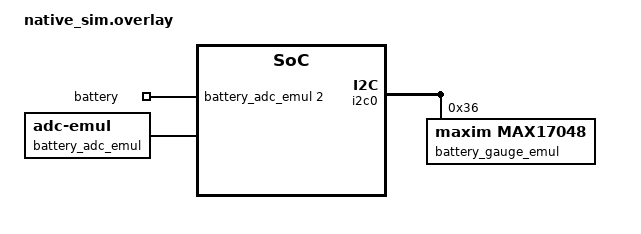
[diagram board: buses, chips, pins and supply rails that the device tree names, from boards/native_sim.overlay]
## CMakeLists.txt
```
# SPDX-License-Identifier: Apache-2.0
cmake_minimum_required(VERSION 3.28.0)
set(BOARD_ROOT ${CMAKE_CURRENT_LIST_DIR}/../../..)
set(DTC_OVERLAY_FILE ${CMAKE_CURRENT_LIST_DIR}/boards/native_sim.overlay)
find_package(Zephyr REQUIRED HINTS $ENV{ZEPHYR_BASE})
project(ef800_shared_battery_soc_test)

target_compile_definitions(app PRIVATE
	CONFIG_EF800_APPLICATION_RUNTIME_RTC_PERIOD_MS=1000
	CONFIG_EF800_APPLICATION_RUNTIME_BATTERY_PERIOD_MS=10000
)

target_sources(app PRIVATE
	src/main.c
	${CMAKE_CURRENT_LIST_DIR}/../../../shared/ef800_battery/ef800_battery_soc.c
	${CMAKE_CURRENT_LIST_DIR}/../../../shared/ef800_battery/ef800_battery_adc_ring.c
	${CMAKE_CURRENT_LIST_DIR}/../../../shared/ef800_battery/ef800_battery_soc_gauge.c
	${CMAKE_CURRENT_LIST_DIR}/../../../shared/ef800_battery/ef800_battery_soc_store.c
	${CMAKE_CURRENT_LIST_DIR}/../../../shared/ef800_runtime/ef800_runtime_state.c
	${CMAKE_CURRENT_LIST_DIR}/../../../shared/ef800_drivers/ef800_max17043.c
	${CMAKE_CURRENT_LIST_DIR}/../../../shared/virtual_ef800/profile/virtual_ef800_profile.c
	${CMAKE_CURRENT_LIST_DIR}/../../../shared/virtual_ef800/battery/virtual_ef800_battery.c
	${CMAKE_CURRENT_LIST_DIR}/../../../shared/ef800_persistence/ef800_persistence.c
	${CMAKE_CURRENT_LIST_DIR}/../../../shared/ef800_persistence/ef800_persistence_fake.c
)
target_include_directories(app PRIVATE
	${CMAKE_CURRENT_LIST_DIR}/../../../shared/ef800_battery
	${CMAKE_CURRENT_LIST_DIR}/../../../shared/ef800_drivers
	${CMAKE_CURRENT_LIST_DIR}/../../../shared/virtual_ef800/profile
	${CMAKE_CURRENT_LIST_DIR}/../../../shared/virtual_ef800/serial
	${CMAKE_CURRENT_LIST_DIR}/../../../shared/ef800_runtime
	${CMAKE_CURRENT_LIST_DIR}/../../../shared/ef800_app
	${CMAKE_CURRENT_LIST_DIR}/../../../shared/ef800_persistence
)
```

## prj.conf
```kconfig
# SPDX-License-Identifier: Apache-2.0
CONFIG_ZTEST=y
CONFIG_ADC=y
CONFIG_ADC_EMUL=y
CONFIG_I2C=y
CONFIG_I2C_EMUL=y
CONFIG_EMUL=y
CONFIG_FUEL_GAUGE=y
CONFIG_MAX17048=y
CONFIG_EMUL_MAX17048=y
```

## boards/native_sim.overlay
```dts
/* SPDX-License-Identifier: Apache-2.0 */
#include <zephyr/dt-bindings/adc/adc.h>

/ {
	zephyr,user {
		io-channels = <&battery_adc_emul 2>;
		io-channel-names = "battery";
	};

	battery_adc_emul: adc {
		compatible = "zephyr,adc-emul";
		nchannels = <3>;
		ref-internal-mv = <3300>;
		#io-channel-cells = <1>;
		status = "okay";

		#address-cells = <1>;
		#size-cells = <0>;

		channel@2 {
			reg = <2>;
			zephyr,gain = "ADC_GAIN_1";
			zephyr,reference = "ADC_REF_INTERNAL";
			zephyr,vref-mv = <3300>;
			zephyr,acquisition-time = <ADC_ACQ_TIME_MAX>;
			zephyr,resolution = <12>;
		};
	};
};

&i2c0 {
	battery_gauge_emul: fuel-gauge@36 {
		compatible = "maxim,max17048";
		reg = <0x36>;
		status = "okay";
	};
};
```

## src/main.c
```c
/* SPDX-License-Identifier: Apache-2.0 */

#include <errno.h>
#include <string.h>

#include <zephyr/device.h>
#include <zephyr/devicetree.h>
#include <zephyr/drivers/adc.h>
#include <zephyr/drivers/adc/adc_emul.h>
#include <zephyr/ztest.h>

#include "ef800_battery_soc.h"
#include "ef800_battery_adc_ring.h"
#include "ef800_battery_soc_gauge.h"
#include "ef800_battery_soc_store.h"
#include "ef800_max17043.h"
#include "ef800_persistence_fake.h"
#include "ef800_runtime_state.h"
#include "virtual_ef800_profile.h"

int ef800_app_rtc_get_local_time(struct rtc_time *local)
{
	ARG_UNUSED(local);
	return -ENOTSUP;
}

int virtual_ef800_serial_peer_set_profile(uint8_t port, uint8_t profile)
{
	ARG_UNUSED(port);
	ARG_UNUSED(profile);
	return 0;
}

int virtual_ef800_serial_peer_set(uint8_t port, const uint8_t *response,
	size_t length, int32_t delay_ms, int32_t error, bool available)
{
	ARG_UNUSED(port);
	ARG_UNUSED(response);
	ARG_UNUSED(length);
	ARG_UNUSED(delay_ms);
	ARG_UNUSED(error);
	ARG_UNUSED(available);
	return 0;
}

static struct ef800_battery_soc_table sample_table(void)
{
	return (struct ef800_battery_soc_table){
		.version = EF800_BATTERY_SOC_TABLE_VERSION,
		.chemistry = EF800_BATTERY_SOC_CHEMISTRY_LIFEPO4,
		.point_count = 3U,
		.points = {
			{ .pin_mv = 1000U, .soc_percent = 0U },
			{ .pin_mv = 2000U, .soc_percent = 50U },
			{ .pin_mv = 3000U, .soc_percent = 100U },
		},
	};
}

static const struct adc_dt_spec test_battery_adc =
	ADC_DT_SPEC_GET_BY_NAME(DT_PATH(zephyr_user), battery);

ZTEST(battery_soc_adc, test_adc_ring_warmup_averages_and_wraps)
{
	struct ef800_battery_adc_ring ring = {0};
	uint16_t average;

	zassert_ok(ef800_battery_adc_ring_push(&ring, 1000U, &average), NULL);
	zassert_equal(average, 1000U, "warm-up should use available samples");
	zassert_ok(ef800_battery_adc_ring_push(&ring, 1201U, &average), NULL);
	zassert_equal(average, 1101U, "mean should round to nearest millivolt");

	for (uint16_t sample = 2000U; sample < 2000U +
		EF800_BATTERY_ADC_RING_CAPACITY - 2U; ++sample) {
		zassert_ok(ef800_battery_adc_ring_push(&ring, sample, &average), NULL);
	}
	zassert_equal(ring.count, EF800_BATTERY_ADC_RING_CAPACITY, NULL);
	zassert_ok(ef800_battery_adc_ring_push(&ring, 3000U, &average), NULL);
	zassert_equal(ring.count, EF800_BATTERY_ADC_RING_CAPACITY, NULL);
	zassert_equal(average, 2027U, "full ring should discard oldest sample");
}

ZTEST(battery_soc_table, test_hex_encode_decode_round_trip)
{
	struct ef800_battery_soc_table original = sample_table();
	struct ef800_battery_soc_table decoded;
	char hex[EF800_BATTERY_SOC_TABLE_MAX_HEX_LENGTH + 1U];
	size_t hex_length;

	zassert_ok(ef800_battery_soc_table_encode_hex(&original, hex, sizeof(hex),
		&hex_length), NULL);
	zassert_true(hex_length > 0U, NULL);
	zassert_ok(ef800_battery_soc_table_decode_hex(hex, hex_length, &decoded), NULL);
	zassert_equal(decoded.version, original.version, NULL);
	zassert_equal(decoded.chemistry, original.chemistry, NULL);
	zassert_equal(decoded.point_count, original.point_count, NULL);
	for (size_t index = 0U; index < original.point_count; ++index) {
		zassert_equal(decoded.points[index].pin_mv,
			original.points[index].pin_mv, NULL);
		zassert_equal(decoded.points[index].soc_percent,
			original.points[index].soc_percent, NULL);
	}
}

ZTEST(battery_soc_table, test_documented_approximate_lifepo4_table)
{
	static const char hex[] =
		"01020b080100099b0a0a3f140a4f1e0a68280a70320a783c0a91460aa1500aba5a0ae36473f7f18d";
	static const uint16_t expected_pin_mv[] = {
		2049U, 2459U, 2623U, 2639U, 2664U, 2672U,
		2680U, 2705U, 2721U, 2746U, 2787U,
	};
	struct ef800_battery_soc_table table;

	zassert_ok(ef800_battery_soc_table_decode_hex(hex, strlen(hex), &table), NULL);
	zassert_equal(table.chemistry, EF800_BATTERY_SOC_CHEMISTRY_LIFEPO4, NULL);
	zassert_equal(table.point_count, ARRAY_SIZE(expected_pin_mv), NULL);
	for (size_t index = 0U; index < ARRAY_SIZE(expected_pin_mv); ++index) {
		zassert_equal(table.points[index].pin_mv, expected_pin_mv[index], NULL);
		zassert_equal(table.points[index].soc_percent, index * 10U, NULL);
	}
}

ZTEST(battery_soc_table, test_interpolation_clamps_and_rounds)
{
	struct ef800_battery_soc_table table = sample_table();
	uint8_t soc;
	uint16_t pin_mv;

	zassert_ok(ef800_battery_soc_from_pin_mv(&table, 500U, &soc), NULL);
	zassert_equal(soc, 0U, NULL);
	zassert_ok(ef800_battery_soc_from_pin_mv(&table, 1500U, &soc), NULL);
	zassert_equal(soc, 25U, NULL);
	zassert_ok(ef800_battery_soc_from_pin_mv(&table, 3500U, &soc), NULL);
	zassert_equal(soc, 100U, NULL);

	zassert_ok(ef800_battery_pin_mv_from_soc(&table, 0U, &pin_mv), NULL);
	zassert_equal(pin_mv, 1000U, NULL);
	zassert_ok(ef800_battery_pin_mv_from_soc(&table, 25U, &pin_mv), NULL);
	zassert_equal(pin_mv, 1500U, NULL);
	zassert_ok(ef800_battery_pin_mv_from_soc(&table, 100U, &pin_mv), NULL);
	zassert_equal(pin_mv, 3000U, NULL);
}

ZTEST(battery_soc_table, test_decode_rejects_bad_hex_crc_and_length)
{
	struct ef800_battery_soc_table table = sample_table();
	struct ef800_battery_soc_table decoded;
	char hex[EF800_BATTERY_SOC_TABLE_MAX_HEX_LENGTH + 1U];
	size_t hex_length;

	zassert_ok(ef800_battery_soc_table_encode_hex(&table, hex, sizeof(hex),
		&hex_length), NULL);
	zassert_equal(ef800_battery_soc_table_decode_hex(hex, hex_length - 1U,
		&decoded), -EINVAL, NULL);
	hex[0] = 'Z';
	zassert_equal(ef800_battery_soc_table_decode_hex(hex, hex_length,
		&decoded), -EINVAL, NULL);
	zassert_ok(ef800_battery_soc_table_encode_hex(&table, hex, sizeof(hex),
		&hex_length), NULL);
	hex[hex_length - 1U] = hex[hex_length - 1U] == '0' ? '1' : '0';
	zassert_equal(ef800_battery_soc_table_decode_hex(hex, hex_length,
		&decoded), -EBADMSG, NULL);
}

ZTEST(battery_soc_table, test_validation_rejects_invalid_points_and_capacity)
{
	struct ef800_battery_soc_table table = sample_table();
	char hex[EF800_BATTERY_SOC_TABLE_MAX_HEX_LENGTH + 1U];
	size_t hex_length;

	table.points[1].pin_mv = table.points[0].pin_mv;
	zassert_equal(ef800_battery_soc_table_validate(&table), -EINVAL, NULL);
	table = sample_table();
	table.points[1].soc_percent = table.points[0].soc_percent;
	zassert_equal(ef800_battery_soc_table_validate(&table), -EINVAL, NULL);
	table = sample_table();
	table.points[2].pin_mv = EF800_BATTERY_SOC_ADC_MAX_MV + 1U;
	zassert_equal(ef800_battery_soc_table_validate(&table), -ERANGE, NULL);
	table = sample_table();
	zassert_equal(ef800_battery_soc_table_encode_hex(&table, hex, 1U,
		&hex_length), -ENOMEM, NULL);
}

ZTEST(battery_soc_adc, test_native_adc_path_converts_millivolts_and_soc_bounds)
{
	struct ef800_battery_soc_table table = sample_table();
	struct adc_sequence sequence;
	int16_t raw_sample;
	int32_t measured_mv;
	uint16_t requested_mv;
	uint8_t actual_soc;
	uint8_t battery_control[3] = { 4U, 6U, 0U };
	static const uint8_t requested_values[] = { 0U, 50U, 100U };

	zassert_true(device_is_ready(test_battery_adc.dev), NULL);
	zassert_ok(adc_channel_setup_dt(&test_battery_adc), NULL);
	for (size_t index = 0U; index < ARRAY_SIZE(requested_values); ++index) {
		uint8_t requested_soc = requested_values[index];

		battery_control[2] = requested_soc;
		zassert_ok(virtual_ef800_profile_apply(battery_control,
			sizeof(battery_control)), NULL);
		requested_soc = virtual_ef800_profile_battery_soc();
		zassert_ok(ef800_battery_pin_mv_from_soc(&table, requested_soc,
			&requested_mv), NULL);
		zassert_ok(adc_emul_const_value_set(test_battery_adc.dev,
			test_battery_adc.channel_id, requested_mv), NULL);
		zassert_ok(adc_sequence_init_dt(&test_battery_adc, &sequence), NULL);
		sequence.buffer = &raw_sample;
		sequence.buffer_size = sizeof(raw_sample);
		zassert_ok(adc_read_dt(&test_battery_adc, &sequence), NULL);
		measured_mv = raw_sample;
		zassert_ok(adc_raw_to_millivolts_dt(&test_battery_adc,
			&measured_mv), NULL);
		zassert_ok(ef800_battery_soc_from_pin_mv(&table,
			(uint16_t)measured_mv, &actual_soc), NULL);
		zassert_equal(actual_soc, requested_soc, "requested=%u measured=%d",
			requested_soc, measured_mv);
	}
}

ZTEST(battery_soc_gauge_emul, test_max17048_register_path_uses_virtual_soc)
{
	static const struct i2c_dt_spec gauge_spec =
		I2C_DT_SPEC_GET(DT_NODELABEL(battery_gauge_emul));
	struct ef800_max17043 gauge;
	struct ef800_max17043_status status;
	uint8_t set_zero[] = { 4U, 6U, 0U };
	uint8_t set_full[] = { 4U, 6U, 100U };
	uint8_t set_unavailable[] = { 4U, 1U, 0U };
	uint8_t set_available[] = { 4U, 1U, 1U };

	zassert_ok(virtual_ef800_profile_apply(set_zero, sizeof(set_zero)), NULL);
	zassert_true(i2c_is_ready_dt(&gauge_spec), NULL);
	zassert_ok(ef800_max17043_init(&gauge, &gauge_spec), NULL);
	zassert_ok(ef800_max17043_read(&gauge, &status), NULL);
	zassert_equal(status.soc_percent, 0U, "zero SOC must remain a valid sample");
	zassert_equal(status.voltage_uv, 3800000U, NULL);

	zassert_ok(virtual_ef800_profile_apply(set_full, sizeof(set_full)), NULL);
	zassert_ok(ef800_max17043_read(&gauge, &status), NULL);
	zassert_equal(status.soc_percent, 100U, NULL);
	zassert_equal(status.voltage_uv, 3800000U, NULL);

	zassert_ok(virtual_ef800_profile_apply(set_unavailable,
		sizeof(set_unavailable)), NULL);
	zassert_equal(ef800_max17043_read(&gauge, &status), -ENODEV, NULL);
	zassert_equal(ef800_max17043_init(&gauge, &gauge_spec), -ENODEV, NULL);
	zassert_ok(virtual_ef800_profile_apply(set_available,
		sizeof(set_available)), NULL);
}

ZTEST(battery_soc_store, test_table_persists_and_reloads)
{
	struct ef800_persistence_fake fake;
	struct ef800_persistence persistence;
	struct ef800_battery_soc_store store;
	struct ef800_battery_soc_store restarted;
	struct ef800_battery_soc_table table = sample_table();
	struct ef800_battery_soc_table loaded;
	char hex[EF800_BATTERY_SOC_TABLE_MAX_HEX_LENGTH + 1U];
	size_t hex_length;

	ef800_persistence_fake_init(&fake);
	zassert_ok(ef800_persistence_init(&persistence, &fake.backend), NULL);
	zassert_ok(ef800_battery_soc_store_init(&store, &persistence), NULL);
	zassert_false(ef800_battery_soc_store_has_table(&store), NULL);
	zassert_ok(ef800_battery_soc_table_encode_hex(&table, hex, sizeof(hex),
		&hex_length), NULL);
	zassert_ok(ef800_battery_soc_store_set_hex(&store, hex, hex_length), NULL);
	zassert_true(ef800_battery_soc_store_has_table(&store), NULL);
	zassert_ok(ef800_battery_soc_store_init(&restarted, &persistence), NULL);
	zassert_ok(ef800_battery_soc_store_get_table(&restarted, &loaded), NULL);
	zassert_equal(loaded.point_count, table.point_count, NULL);
	zassert_equal(loaded.points[1].pin_mv, table.points[1].pin_mv, NULL);
	zassert_ok(ef800_battery_soc_store_get_hex(&restarted, hex, sizeof(hex),
		&hex_length), NULL);
	zassert_true(hex_length > 0U, NULL);
}

ZTEST(battery_soc_store, test_invalid_and_corrupt_updates_keep_previous_table)
{
	struct ef800_persistence_fake fake;
	struct ef800_persistence persistence;
	struct ef800_battery_soc_store store;
	struct ef800_battery_soc_store restarted;
	struct ef800_battery_soc_table first = sample_table();
	struct ef800_battery_soc_table second = sample_table();
	struct ef800_battery_soc_table loaded;
	char first_hex[EF800_BATTERY_SOC_TABLE_MAX_HEX_LENGTH + 1U];
	char second_hex[EF800_BATTERY_SOC_TABLE_MAX_HEX_LENGTH + 1U];
	size_t first_length;
	size_t second_length;

	second.points[0].pin_mv = 900U;
	second.points[1].pin_mv = 1900U;
	second.points[2].pin_mv = 2900U;
	ef800_persistence_fake_init(&fake);
	zassert_ok(ef800_persistence_init(&persistence, &fake.backend), NULL);
	zassert_ok(ef800_battery_soc_store_init(&store, &persistence), NULL);
	zassert_ok(ef800_battery_soc_table_encode_hex(&first, first_hex,
		sizeof(first_hex), &first_length), NULL);
	zassert_ok(ef800_battery_soc_table_encode_hex(&second, second_hex,
		sizeof(second_hex), &second_length), NULL);
	zassert_ok(ef800_battery_soc_store_set_hex(&store, first_hex, first_length), NULL);
	zassert_equal(ef800_battery_soc_store_set_hex(&store, "not-hex", 7U),
		-EINVAL, NULL);
	zassert_ok(ef800_battery_soc_store_get_table(&store, &loaded), NULL);
	zassert_equal(loaded.points[0].pin_mv, first.points[0].pin_mv, NULL);

	zassert_ok(ef800_battery_soc_store_set_hex(&store, second_hex, second_length), NULL);
	strcpy(fake.corrupt_on_sync_name, EF800_BATTERY_SOC_STORE_SLOT_A);
	fake.corrupt_on_sync_enabled = true;
	zassert_true(ef800_battery_soc_store_set_hex(&store, first_hex, first_length) < 0,
		NULL);
	zassert_ok(ef800_battery_soc_store_init(&restarted, &persistence), NULL);
	zassert_ok(ef800_battery_soc_store_get_table(&restarted, &loaded), NULL);
	zassert_equal(loaded.points[0].pin_mv, second.points[0].pin_mv, NULL);
}

struct battery_reader_context {
	uint8_t soc_percent;
	uint8_t failures_remaining;
};

static int fake_battery_reader(void *context,
	struct ef800_max17043_status *status)
{
	struct battery_reader_context *reader = context;

	if (reader->failures_remaining > 0U) {
		--reader->failures_remaining;
		return -EIO;
	}
	status->soc_percent = reader->soc_percent;
	status->voltage_uv = 2800000U;
	return 0;
}

ZTEST(battery_runtime, test_soc_stays_visible_until_third_failure)
{
	struct battery_reader_context reader = { .soc_percent = 73U };
	struct ef800_runtime_state state;
	struct ef800_runtime_snapshot snapshot;

	ef800_runtime_state_init(&state, fake_battery_reader, &reader);
	ef800_runtime_state_refresh_battery(&state);
	zassert_ok(ef800_runtime_state_snapshot(&state, &snapshot), NULL);
	zassert_true(snapshot.battery_has_value, NULL);
	zassert_equal(snapshot.battery_soc_percent, 73U, NULL);

	reader.failures_remaining = 3U;
	ef800_runtime_state_refresh_battery(&state);
	zassert_ok(ef800_runtime_state_snapshot(&state, &snapshot), NULL);
	zassert_true(snapshot.battery_has_value, NULL);
	zassert_equal(snapshot.battery_soc_percent, 73U, NULL);
	ef800_runtime_state_refresh_battery(&state);
	zassert_ok(ef800_runtime_state_snapshot(&state, &snapshot), NULL);
	zassert_true(snapshot.battery_has_value, NULL);
	zassert_equal(snapshot.battery_soc_percent, 73U, NULL);
	ef800_runtime_state_refresh_battery(&state);
	zassert_ok(ef800_runtime_state_snapshot(&state, &snapshot), NULL);
	zassert_false(snapshot.battery_has_value, NULL);
	zassert_equal(snapshot.battery_status, EF800_RUNTIME_SAMPLE_UNAVAILABLE, NULL);

	reader.soc_percent = 64U;
	ef800_runtime_state_refresh_battery(&state);
	zassert_ok(ef800_runtime_state_snapshot(&state, &snapshot), NULL);
	zassert_true(snapshot.battery_has_value, NULL);
	zassert_equal(snapshot.battery_soc_percent, 64U, NULL);
}

ZTEST(battery_runtime, test_zero_soc_is_not_source_unavailable)
{
	struct battery_reader_context reader = { .soc_percent = 0U };
	struct ef800_runtime_state state;
	struct ef800_runtime_snapshot snapshot;

	ef800_runtime_state_init(&state, fake_battery_reader, &reader);
	ef800_runtime_state_refresh_battery(&state);
	zassert_ok(ef800_runtime_state_snapshot(&state, &snapshot), NULL);
	zassert_true(snapshot.battery_has_value, NULL);
	zassert_equal(snapshot.battery_soc_percent, 0U, NULL);

	ef800_runtime_state_init(&state, NULL, NULL);
	ef800_runtime_state_refresh_battery(&state);
	zassert_ok(ef800_runtime_state_snapshot(&state, &snapshot), NULL);
	zassert_false(snapshot.battery_has_value, NULL);
	zassert_equal(snapshot.battery_status, EF800_RUNTIME_SAMPLE_UNAVAILABLE, NULL);
}

struct fake_gauge {
	bool present;
	int read_result;
	uint8_t probe_calls;
	uint8_t read_calls;
};

static int fake_gauge_probe(void *context)
{
	struct fake_gauge *fake = context;

	++fake->probe_calls;
	return fake->present ? 0 : -ENODEV;
}

static int fake_gauge_read(void *context,
	struct ef800_max17043_status *status)
{
	struct fake_gauge *fake = context;

	++fake->read_calls;
	if (fake->read_result != 0) {
		return fake->read_result;
	}
	status->soc_percent = 62U;
	status->voltage_uv = 3700000U;
	return 0;
}

ZTEST(battery_gauge, test_absent_gauge_probe_is_one_shot)
{
	struct fake_gauge fake = { .present = false };
	struct ef800_battery_soc_gauge gauge;
	struct ef800_max17043_status status;

	zassert_ok(ef800_battery_soc_gauge_init(&gauge, fake_gauge_probe,
		fake_gauge_read, &fake), NULL);
	zassert_equal(ef800_battery_soc_gauge_read(&gauge, &status), -ENODEV, NULL);
	zassert_equal(ef800_battery_soc_gauge_read(&gauge, &status), -ENODEV, NULL);
	zassert_equal(fake.probe_calls, 1U, NULL);
	zassert_equal(fake.read_calls, 0U, NULL);
}

ZTEST(battery_gauge, test_responding_gauge_is_probed_once_and_sampled)
{
	struct fake_gauge fake = { .present = true };
	struct ef800_battery_soc_gauge gauge;
	struct ef800_max17043_status status;

	zassert_ok(ef800_battery_soc_gauge_init(&gauge, fake_gauge_probe,
		fake_gauge_read, &fake), NULL);
	zassert_ok(ef800_battery_soc_gauge_read(&gauge, &status), NULL);
	zassert_equal(status.soc_percent, 62U, NULL);
	fake.read_result = -EIO;
	zassert_equal(ef800_battery_soc_gauge_read(&gauge, &status), -EIO, NULL);
	zassert_equal(fake.probe_calls, 1U, NULL);
	zassert_equal(fake.read_calls, 2U, NULL);
}

ZTEST_SUITE(battery_soc_table, NULL, NULL, NULL, NULL, NULL);
ZTEST_SUITE(battery_soc_adc, NULL, NULL, NULL, NULL, NULL);
ZTEST_SUITE(battery_soc_gauge_emul, NULL, NULL, NULL, NULL, NULL);
ZTEST_SUITE(battery_soc_store, NULL, NULL, NULL, NULL, NULL);
ZTEST_SUITE(battery_runtime, NULL, NULL, NULL, NULL, NULL);
ZTEST_SUITE(battery_gauge, NULL, NULL, NULL, NULL, NULL);
```
